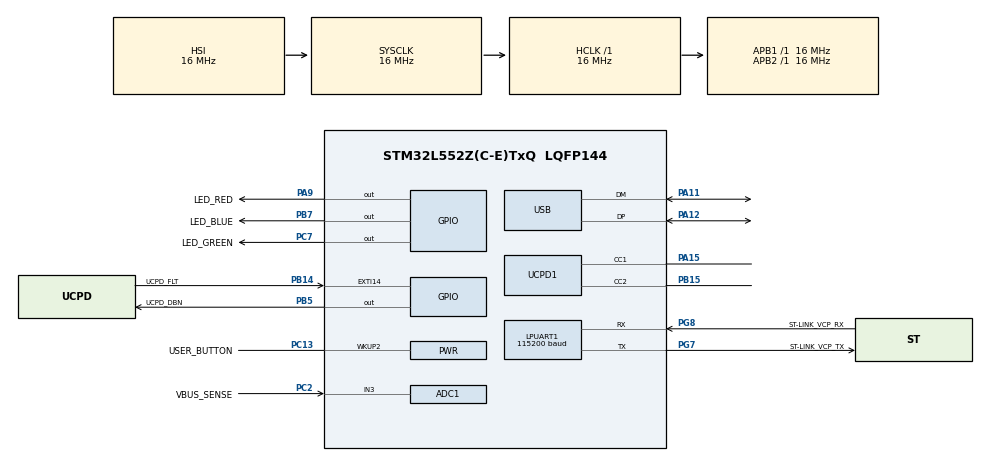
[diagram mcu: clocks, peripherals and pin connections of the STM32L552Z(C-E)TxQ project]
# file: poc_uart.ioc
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ADC1.Channel-0\#ChannelRegularConversion=ADC_CHANNEL_3
ADC1.NbrOfConversionFlag=1
ADC1.OffsetNumber-0\#ChannelRegularConversion=ADC_OFFSET_NONE
ADC1.Rank-0\#ChannelRegularConversion=1
ADC1.SamplingTime-0\#ChannelRegularConversion=ADC_SAMPLETIME_2CYCLES_5
ADC1.master=1
LPUART1.BaudRate=115200
Mcu.Family=STM32L5
Mcu.Name=STM32L552Z(C-E)TxQ
Mcu.Package=LQFP144
Mcu.TrustZone=disable
NVIC.PriorityGroup=NVIC_PRIORITYGROUP_3
PA11.Mode=Device
PA11.Signal=USB_DM
PA12.Mode=Device
PA12.Signal=USB_DP
PA13\ (JTMS/SWDIO).Mode=Trace_Asynchronous_SW
PA13\ (JTMS/SWDIO).Signal=DEBUG_JTMS-SWDIO
PA14\ (JTCK/SWCLK).Mode=Trace_Asynchronous_SW
PA14\ (JTCK/SWCLK).Signal=DEBUG_JTCK-SWCLK
PA15\ (JTDI).Mode=Source_AllSignals
PA15\ (JTDI).Signal=UCPD1_CC1
PA9.GPIO_Label=LED_RED
PA9.Signal=GPIO_Output
PB14.GPIO_Label=UCPD_FLT
PB14.Signal=GPXTI14
PB15.Mode=Source_AllSignals
PB15.Signal=UCPD1_CC2
PB3\ (JTDO/TRACESWO).Mode=Trace_Asynchronous_SW
PB3\ (JTDO/TRACESWO).Signal=DEBUG_JTDO-SWO
PB5.GPIO_Label=UCPD_DBN
PB5.Signal=GPIO_Output
PB7.GPIO_Label=LED_BLUE
PB7.Signal=GPIO_Output
PC13.GPIO_Label=USER_BUTTON
PC13.Mode=WakeUp1
PC13.Signal=PWR_WKUP2
PC14-OSC32_IN\ (PC14).Mode=LSE-External-Oscillator
PC14-OSC32_IN\ (PC14).Signal=RCC_OSC32_IN
PC15-OSC32_OUT\ (PC15).Mode=LSE-External-Oscillator
PC15-OSC32_OUT\ (PC15).Signal=RCC_OSC32_OUT
PC2.GPIO_Label=VBUS_SENSE
PC2.Signal=ADCx_IN3
PC7.GPIO_Label=LED_GREEN
PC7.Signal=GPIO_Output
PG7.GPIO_Label=ST-LINK_VCP_TX
PG7.Mode=Asynchronous
PG7.Signal=LPUART1_TX
PG8.GPIO_Label=ST-LINK_VCP_RX
PG8.Mode=Asynchronous
PG8.Signal=LPUART1_RX
ProjectManager.HeapSize=0x200
ProjectManager.StackSize=0x400
ProjectManager.TargetToolchain=STM32CubeIDE
RCC.ADCCLockSelection=RCC_ADCCLKSOURCE_SYSCLK
RCC.ADCFreq_Value=16000000
RCC.AHBFreq_Value=16000000
RCC.APB1Freq_Value=16000000
RCC.APB1TimFreq_Value=16000000
RCC.APB2Freq_Value=16000000
RCC.APB2TimFreq_Value=16000000
RCC.CK48CLockSelection=RCC_USBCLKSOURCE_HSI48
RCC.CortexFreq_Value=16000000
RCC.HCLKFreq_Value=16000000
RCC.HSE_VALUE=8000000
RCC.HSI48_VALUE=48000000
RCC.HSI_VALUE=16000000
RCC.MSI_VALUE=4000000
RCC.PLLN=55
RCC.PLLSAI1N=24
RCC.RTCClockSelection=RCC_RTCCLKSOURCE_LSE
RCC.SYSCLKFreq_VALUE=16000000
RCC.SYSCLKSource=RCC_SYSCLKSOURCE_HSI
RCC.USBFreq_Value=48000000
RCC.VCOOutputFreq_Value=220000000
SH.ADCx_IN3.0=ADC1_IN3,IN3-Single-Ended
VP_PWR_VS_DBSignals.Mode=DisableDeadBatterySignals
VP_PWR_VS_SECSignals.Mode=Security/Privilege
VP_RTC_VS_RTC_Activate.Mode=RTC_Enabled
board=NUCLEO-L552ZE-Q

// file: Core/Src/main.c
/* USER CODE BEGIN Header */
/**
    ******************************************************************************
    * @file             : main.c
    * @brief            : UART Proof of Concept
    * @author           : Leo Medus
    ******************************************************************************
    * @details This program uses the UART of the NUCLEO-L552 board to send some
    * string messages. The main program runs a FreeRTOS Kernel V10.3.1 with two tasks.
    *
    * @attention
    *
    * This software component is licensed by ST under BSD 3-Clause license,
    * the "License"; You may not use this file except in compliance with the
    * License. You may obtain a copy of the License at:
    *                        opensource.org/licenses/BSD-3-Clause
    *
    ******************************************************************************
    */
/* USER CODE END Header */
#include "main.h"
#include "cmsis_os.h"

/* USER CODE BEGIN Includes */
#include "FreeRTOS.h"
#include "task.h"
/* USER CODE END Includes */

/* USER CODE BEGIN PM */
#define TRUE            1
#define FALSE           0
#define AVAILABLE       TRUE
#define NOT_AVAILABLE   FALSE

#define DWT_CTRL    (*(volatile uint32_t*)0xE0001000)       /* Data Watchpoint and Trace Unit */
/* USER CODE END PM */

ADC_HandleTypeDef hadc1;

UART_HandleTypeDef hlpuart1;

RTC_HandleTypeDef hrtc;

PCD_HandleTypeDef hpcd_USB_FS;

/* USER CODE BEGIN PV */

char usr_msg[250];
uint8_t UART_ACCESS_KEY = AVAILABLE;

/* USER CODE END PV */

void SystemClock_Config(void);
static void MX_GPIO_Init(void);
static void MX_ADC1_Init(void);
static void MX_LPUART1_UART_Init(void);
static void MX_RTC_Init(void);
static void MX_UCPD1_Init(void);
static void MX_USB_PCD_Init(void);
/* USER CODE BEGIN PFP */

void sendString(char *msg);
void sendChar(char *c);

static void task1_handler(void* parameters);
static void task2_handler(void* parameters);

/* USER CODE END PFP */

int main(void)
{
    /* USER CODE BEGIN 1 */
    TaskHandle_t task1_handle;
    TaskHandle_t task2_handle;

    BaseType_t status;

    /* USER CODE END 1 */

    /* MCU Configuration--------------------------------------------------------*/

    /* Reset of all peripherals, Initializes the Flash interface and the Systick. */
    HAL_Init();

    /* Configure the system clock */
    SystemClock_Config();

    /* Initialize all configured peripherals */
    MX_GPIO_Init();
    MX_ADC1_Init();
    MX_LPUART1_UART_Init();
    MX_RTC_Init();
    MX_UCPD1_Init();
    MX_USB_PCD_Init();
    /* USER CODE BEGIN 2 */

    //Enable the CYCCNT counter.
    DWT_CTRL |= ( 1 << 0);

    // sending only one char
    //sendChar((char*)"c");

    sendString((char*)"[info] ---- Proof of Concept: UART in NUCLEO-L552----\r\n");

//    SEGGER_UART_init(500000);

    SEGGER_SYSVIEW_Conf();

   // Start recording with SEGGER
   SEGGER_SYSVIEW_Start();

    status = xTaskCreate(
                task1_handler,                  // name of the task handler
                "Task-1",                       // descriptive name. (Could be NULL)
                200,                            // stack space ([words] = 4*words [bytes])
                "Hello world from Task-1",      // pvParameters
                2,                              // priority of the task
                &task1_handle);                 // handler to the TCB (task controller block)

    configASSERT(status == pdPASS);

    status = xTaskCreate(
                task2_handler,
                "Task-2",
                200,
                "Hello world from Task-2",
                2,
                &task2_handle);

    configASSERT(status == pdPASS);

    //start the freeRTOS scheduler
    vTaskStartScheduler();

    //if the control comes here, then the launch of the scheduler has failed due to
    //insufficient memory in heap

    /* USER CODE END 2 */

    /* Infinite loop */
    while (1)
    {

    }
}

void SystemClock_Config(void)
{
    RCC_OscInitTypeDef RCC_OscInitStruct = {0};
    RCC_ClkInitTypeDef RCC_ClkInitStruct = {0};

    /** Configure the main internal regulator output voltage
    */
    if (HAL_PWREx_ControlVoltageScaling(PWR_REGULATOR_VOLTAGE_SCALE2) != HAL_OK)
    {
    Error_Handler();
    }
    /** Configure LSE Drive Capability
    */
    HAL_PWR_EnableBkUpAccess();
    __HAL_RCC_LSEDRIVE_CONFIG(RCC_LSEDRIVE_LOW);
    /** Initializes the RCC Oscillators according to the specified parameters
    * in the RCC_OscInitTypeDef structure.
    */
    RCC_OscInitStruct.OscillatorType = RCC_OSCILLATORTYPE_HSI48|RCC_OSCILLATORTYPE_HSI
                                |RCC_OSCILLATORTYPE_LSE;
    RCC_OscInitStruct.LSEState = RCC_LSE_ON;
    RCC_OscInitStruct.HSIState = RCC_HSI_ON;
    RCC_OscInitStruct.HSI48State = RCC_HSI48_ON;
    RCC_OscInitStruct.HSICalibrationValue = RCC_HSICALIBRATION_DEFAULT;
    RCC_OscInitStruct.PLL.PLLState = RCC_PLL_NONE;
    if (HAL_RCC_OscConfig(&RCC_OscInitStruct) != HAL_OK)
    {
        Error_Handler();
    }
    /** Initializes the CPU, AHB and APB buses clocks
    */
    RCC_ClkInitStruct.ClockType = RCC_CLOCKTYPE_HCLK|RCC_CLOCKTYPE_SYSCLK
                                |RCC_CLOCKTYPE_PCLK1|RCC_CLOCKTYPE_PCLK2;
    RCC_ClkInitStruct.SYSCLKSource = RCC_SYSCLKSOURCE_HSI;
    RCC_ClkInitStruct.AHBCLKDivider = RCC_SYSCLK_DIV1;
    RCC_ClkInitStruct.APB1CLKDivider = RCC_HCLK_DIV1;
    RCC_ClkInitStruct.APB2CLKDivider = RCC_HCLK_DIV1;

    if (HAL_RCC_ClockConfig(&RCC_ClkInitStruct, FLASH_LATENCY_1) != HAL_OK)
    {
        Error_Handler();
    }
}

static void MX_ADC1_Init(void)
{

    ADC_MultiModeTypeDef multimode = {0};
    ADC_ChannelConfTypeDef sConfig = {0};

    /** Common config
    */
    hadc1.Instance = ADC1;
    hadc1.Init.ClockPrescaler = ADC_CLOCK_ASYNC_DIV1;
    hadc1.Init.Resolution = ADC_RESOLUTION_12B;
    hadc1.Init.DataAlign = ADC_DATAALIGN_RIGHT;
    hadc1.Init.ScanConvMode = ADC_SCAN_DISABLE;
    hadc1.Init.EOCSelection = ADC_EOC_SINGLE_CONV;
    hadc1.Init.LowPowerAutoWait = DISABLE;
    hadc1.Init.ContinuousConvMode = DISABLE;
    hadc1.Init.NbrOfConversion = 1;
    hadc1.Init.DiscontinuousConvMode = DISABLE;
    hadc1.Init.ExternalTrigConv = ADC_SOFTWARE_START;
    hadc1.Init.ExternalTrigConvEdge = ADC_EXTERNALTRIGCONVEDGE_NONE;
    hadc1.Init.DMAContinuousRequests = DISABLE;
    hadc1.Init.Overrun = ADC_OVR_DATA_PRESERVED;
    hadc1.Init.OversamplingMode = DISABLE;
    if (HAL_ADC_Init(&hadc1) != HAL_OK)
    {
        Error_Handler();
    }
    /** Configure the ADC multi-mode
    */
    multimode.Mode = ADC_MODE_INDEPENDENT;
    if (HAL_ADCEx_MultiModeConfigChannel(&hadc1, &multimode) != HAL_OK)
    {
    Error_Handler();
    }
    /** Configure Regular Channel
    */
    sConfig.Channel = ADC_CHANNEL_3;
    sConfig.Rank = ADC_REGULAR_RANK_1;
    sConfig.SamplingTime = ADC_SAMPLETIME_2CYCLES_5;
    sConfig.SingleDiff = ADC_SINGLE_ENDED;
    sConfig.OffsetNumber = ADC_OFFSET_NONE;
    sConfig.Offset = 0;
    if (HAL_ADC_ConfigChannel(&hadc1, &sConfig) != HAL_OK)
    {
        Error_Handler();
    }

}

static void MX_LPUART1_UART_Init(void)
{

    hlpuart1.Instance = LPUART1;
    hlpuart1.Init.BaudRate = 115200;
    hlpuart1.Init.WordLength = UART_WORDLENGTH_8B;
    hlpuart1.Init.StopBits = UART_STOPBITS_1;
    hlpuart1.Init.Parity = UART_PARITY_NONE;
    hlpuart1.Init.Mode = UART_MODE_TX_RX;
    hlpuart1.Init.HwFlowCtl = UART_HWCONTROL_NONE;
    hlpuart1.Init.OneBitSampling = UART_ONE_BIT_SAMPLE_DISABLE;
    hlpuart1.Init.ClockPrescaler = UART_PRESCALER_DIV1;
    hlpuart1.AdvancedInit.AdvFeatureInit = UART_ADVFEATURE_NO_INIT;
    hlpuart1.FifoMode = UART_FIFOMODE_DISABLE;
    if (HAL_UART_Init(&hlpuart1) != HAL_OK)
    {
        Error_Handler();
    }
    if (HAL_UARTEx_SetTxFifoThreshold(&hlpuart1, UART_TXFIFO_THRESHOLD_1_8) != HAL_OK)
    {
        Error_Handler();
    }
    if (HAL_UARTEx_SetRxFifoThreshold(&hlpuart1, UART_RXFIFO_THRESHOLD_1_8) != HAL_OK)
    {
        Error_Handler();
    }
    if (HAL_UARTEx_DisableFifoMode(&hlpuart1) != HAL_OK)
    {
        Error_Handler();
    }

}

static void MX_RTC_Init(void)
{

    RTC_PrivilegeStateTypeDef privilegeState = {0};

    /** Initialize RTC Only
    */
    hrtc.Instance = RTC;
    hrtc.Init.HourFormat = RTC_HOURFORMAT_24;
    hrtc.Init.AsynchPrediv = 127;
    hrtc.Init.SynchPrediv = 255;
    hrtc.Init.OutPut = RTC_OUTPUT_DISABLE;
    hrtc.Init.OutPutRemap = RTC_OUTPUT_REMAP_NONE;
    hrtc.Init.OutPutPolarity = RTC_OUTPUT_POLARITY_HIGH;
    hrtc.Init.OutPutType = RTC_OUTPUT_TYPE_OPENDRAIN;
    hrtc.Init.OutPutPullUp = RTC_OUTPUT_PULLUP_NONE;
    if (HAL_RTC_Init(&hrtc) != HAL_OK)
    {
        Error_Handler();
    }
    privilegeState.rtcPrivilegeFull = RTC_PRIVILEGE_FULL_NO;
    privilegeState.backupRegisterPrivZone = RTC_PRIVILEGE_BKUP_ZONE_NONE;
    privilegeState.backupRegisterStartZone2 = RTC_BKP_DR0;
    privilegeState.backupRegisterStartZone3 = RTC_BKP_DR0;
    if (HAL_RTCEx_PrivilegeModeSet(&hrtc, &privilegeState) != HAL_OK)
    {
        Error_Handler();
    }

}

static void MX_UCPD1_Init(void)
{

    LL_GPIO_InitTypeDef GPIO_InitStruct = {0};

    /* Peripheral clock enable */
    LL_APB1_GRP2_EnableClock(LL_APB1_GRP2_PERIPH_UCPD1);

    LL_AHB2_GRP1_EnableClock(LL_AHB2_GRP1_PERIPH_GPIOB);
    LL_AHB2_GRP1_EnableClock(LL_AHB2_GRP1_PERIPH_GPIOA);
    /**UCPD1 GPIO Configuration
    PB15   ------> UCPD1_CC2
    PA15 (JTDI)   ------> UCPD1_CC1
    */
    GPIO_InitStruct.Pin = LL_GPIO_PIN_15;
    GPIO_InitStruct.Mode = LL_GPIO_MODE_ANALOG;
    GPIO_InitStruct.Pull = LL_GPIO_PULL_NO;
    LL_GPIO_Init(GPIOB, &GPIO_InitStruct);

    GPIO_InitStruct.Pin = LL_GPIO_PIN_15;
    GPIO_InitStruct.Mode = LL_GPIO_MODE_ANALOG;
    GPIO_InitStruct.Pull = LL_GPIO_PULL_NO;
    LL_GPIO_Init(GPIOA, &GPIO_InitStruct);

}

static void MX_USB_PCD_Init(void)
{

    hpcd_USB_FS.Instance = USB;
    hpcd_USB_FS.Init.dev_endpoints = 8;
    hpcd_USB_FS.Init.speed = PCD_SPEED_FULL;
    hpcd_USB_FS.Init.phy_itface = PCD_PHY_EMBEDDED;
    hpcd_USB_FS.Init.Sof_enable = DISABLE;
    hpcd_USB_FS.Init.low_power_enable = DISABLE;
    hpcd_USB_FS.Init.lpm_enable = DISABLE;
    hpcd_USB_FS.Init.battery_charging_enable = DISABLE;
    if (HAL_PCD_Init(&hpcd_USB_FS) != HAL_OK)
    {
    Error_Handler();
    }

}

static void MX_GPIO_Init(void)
{
    GPIO_InitTypeDef GPIO_InitStruct = {0};

    /* GPIO Ports Clock Enable */
    __HAL_RCC_GPIOC_CLK_ENABLE();
    __HAL_RCC_GPIOB_CLK_ENABLE();
    __HAL_RCC_GPIOG_CLK_ENABLE();
    HAL_PWREx_EnableVddIO2();
    __HAL_RCC_GPIOA_CLK_ENABLE();

    /*Configure GPIO pin Output Level */
    HAL_GPIO_WritePin(LED_GREEN_GPIO_Port, LED_GREEN_Pin, GPIO_PIN_RESET);

    /*Configure GPIO pin Output Level */
    HAL_GPIO_WritePin(LED_RED_GPIO_Port, LED_RED_Pin, GPIO_PIN_RESET);

    /*Configure GPIO pin Output Level */
    HAL_GPIO_WritePin(GPIOB, UCPD_DBN_Pin|LED_BLUE_Pin, GPIO_PIN_RESET);

    /*Configure GPIO pin : UCPD_FLT_Pin */
    GPIO_InitStruct.Pin = UCPD_FLT_Pin;
    GPIO_InitStruct.Mode = GPIO_MODE_IT_RISING;
    GPIO_InitStruct.Pull = GPIO_NOPULL;
    HAL_GPIO_Init(UCPD_FLT_GPIO_Port, &GPIO_InitStruct);

    /*Configure GPIO pin : LED_GREEN_Pin */
    GPIO_InitStruct.Pin = LED_GREEN_Pin;
    GPIO_InitStruct.Mode = GPIO_MODE_OUTPUT_PP;
    GPIO_InitStruct.Pull = GPIO_NOPULL;
    GPIO_InitStruct.Speed = GPIO_SPEED_FREQ_LOW;
    HAL_GPIO_Init(LED_GREEN_GPIO_Port, &GPIO_InitStruct);

    /*Configure GPIO pin : LED_RED_Pin */
    GPIO_InitStruct.Pin = LED_RED_Pin;
    GPIO_InitStruct.Mode = GPIO_MODE_OUTPUT_PP;
    GPIO_InitStruct.Pull = GPIO_NOPULL;
    GPIO_InitStruct.Speed = GPIO_SPEED_FREQ_LOW;
    HAL_GPIO_Init(LED_RED_GPIO_Port, &GPIO_InitStruct);

    /*Configure GPIO pins : UCPD_DBN_Pin LED_BLUE_Pin */
    GPIO_InitStruct.Pin = UCPD_DBN_Pin|LED_BLUE_Pin;
    GPIO_InitStruct.Mode = GPIO_MODE_OUTPUT_PP;
    GPIO_InitStruct.Pull = GPIO_NOPULL;
    GPIO_InitStruct.Speed = GPIO_SPEED_FREQ_LOW;
    HAL_GPIO_Init(GPIOB, &GPIO_InitStruct);

}

/* USER CODE BEGIN 4 */

void sendString(char *msg)
{
//  sprintf(usr_msg, "[Test] -- sending a message --\r\n");
    sprintf(usr_msg, msg);

    // sending a string
    HAL_UART_Transmit(&hlpuart1, (uint8_t *) usr_msg, strlen(usr_msg), 100);

//	/* Init tickstart for timeout management */
//	uint32_t tickstart = HAL_GetTick();
//	// waiting for transmission to complete
//	while(UART_WaitOnFlagUntilTimeout(&hlpuart1, UART_FLAG_TC, RESET, tickstart, HAL_UART_TIMEOUT_VALUE) != HAL_OK);
//
//	HAL_UART_Transmit(&hlpuart1, (uint8_t *) "done\n\r", 6, 100);
}

void sendChar(char *ch)
{
    // basic test to send a char
    HAL_UART_Transmit(&hlpuart1, (uint8_t *) ch, 1, 100);
}

static void task1_handler(void* parameters)
{

    char msg[100];

    while(1)
    {
        if(UART_ACCESS_KEY == AVAILABLE)
        {
            UART_ACCESS_KEY = NOT_AVAILABLE;
            snprintf(msg,100,"%s\n", (char*)parameters);
            sendString(msg);
            UART_ACCESS_KEY = AVAILABLE;

            /* segger info message for Segger SystemView */
            SEGGER_SYSVIEW_PrintfTarget("Task-1 is yielding");

            traceISR_EXIT_TO_SCHEDULER();
            taskYIELD();            // Macro for forcing a context switch
        }
    }
}

static void task2_handler(void* parameters)
{
    char msg[100];

    while(1)
    {
        if(UART_ACCESS_KEY == AVAILABLE)
        {
            UART_ACCESS_KEY = NOT_AVAILABLE;
            snprintf(msg,100,"%s\n", (char*)parameters);
            sendString(msg);
            UART_ACCESS_KEY = AVAILABLE;

            /* segger info message for Segger SystemView */
            SEGGER_SYSVIEW_PrintfTarget("Task-2 is yielding");

            traceISR_EXIT_TO_SCHEDULER();
            taskYIELD();            // Macro for forcing a context switch
        }
    }
}

/* USER CODE END 4 */

void Error_Handler(void)
{
    __disable_irq();
    while (1)
    {
    }
}

/************************ (C) COPYRIGHT STMicroelectronics *****END OF FILE****/
